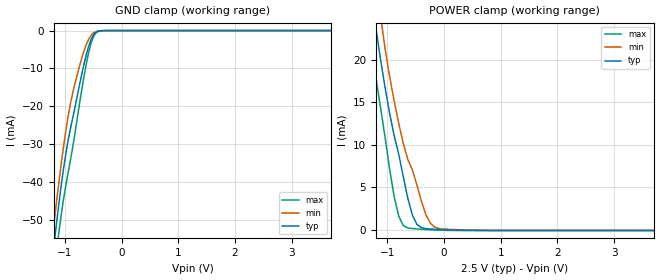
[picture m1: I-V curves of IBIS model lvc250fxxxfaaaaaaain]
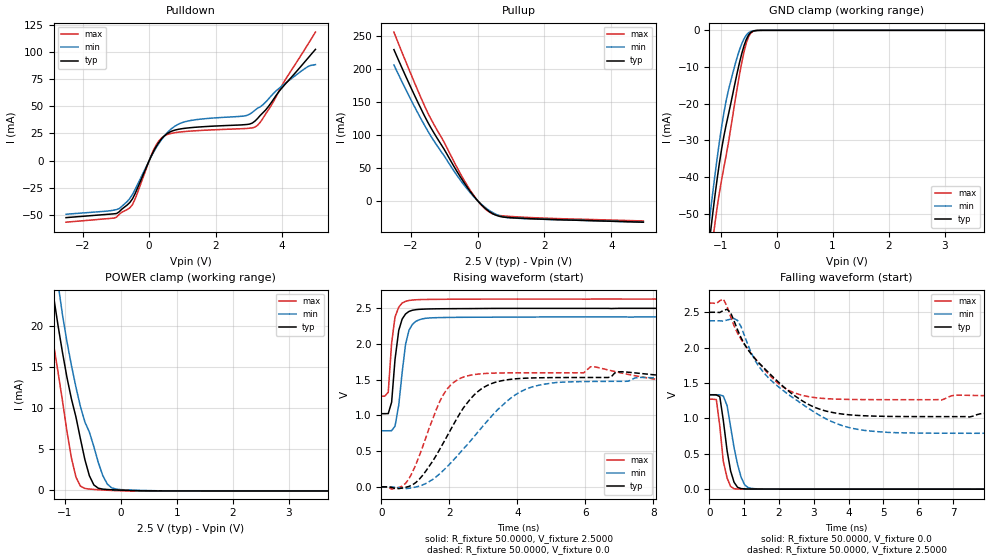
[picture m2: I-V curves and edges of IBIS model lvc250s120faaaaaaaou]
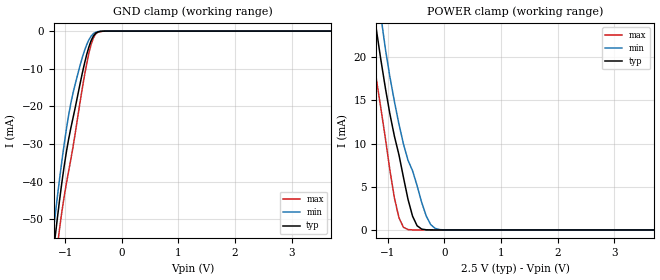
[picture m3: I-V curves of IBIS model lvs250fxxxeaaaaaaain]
| IBIS Models Generator: Lattice Diamond (64-bit) 3.6.0.83.4
| Generate date: Fri Mar 04 09:54:55 2016
| IBIS File ecp3.ibs
| LibisGen v2.0.1.0, 02/25/2008, Lattice Semiconductor Corporation
| Modified by LibisMaker v2.0.1.0, 02/25/2008, Lattice Semiconductor
| Rev 2.1   adds ftBGA256 package model   6/7/10
| North Carolina State University, ERL, 2006
[IBIS ver]   3.2
[File Name]   TrigTest1_TrigTest1.ibs
[File Rev]   2.3
[Date]   Mon Jun 18 11:32:00 EDT 2012
[Source]   Lattice Semiconductor CS200A Process
   LFE3-150EA   FINAL
   Lattice Semiconductor has worked hard to ensure the
   models below are accurate and complete.  However, the
   data below was generated using simulation of the
   input/output model files for the silicon.  Therefore,
   the data below is for reference and initial design
   purposes only.
   Lattice Semiconductor grants permission to use this
   data for use in printed circuit design using this
   Lattice programmable logic device.  Other use of this
   code, including the selling or duplication of any
   portion is strictly prohibited.
|   NAMING CONVENTION
   The IBIS [Model] header is limited by the specification to a
   total of characters.  With such a set of characters available
   for naming models it becomes important to attempt to
   meaningfully encode the IO standards so they fit within the
   twenty character limit.  It would seem that twenty characters
   would provide room enough for describing IO's.  However, the
   PLD IO structure continues to grow more and more complex.  The
   complexity is making the twenty characters insuffiently
   descriptive.  In order to overcome this issue the naming
   convention described below is implemented to resolve the issue.
The twenty character space is managed as follows:
   bbbvvvsdddprugtmoixx
   b = standard
   v = voltage (x.xx V)
   s = slew code
   d = drive (xx.x ma)
   p = pullup code
   r = series resistance code
   u = terminate to vcc code
   g = terminate to gnd code
   t = terminate to vtt code
   m = multdrive
   o = diff resistor code
   i = diffdrive
   x = reserved
   standard
   LVCMOS   lvc
   lvcmosd   lvd
   LVDSE   lve
   LVTTL   lvt
   lvttld   ltd
   PCI   pci
   sstl   ss1
   sstl_I   ss1
   sstl_II   ss2
   sstld   s1d
   sstld_I   s1d
   sstld_II   s2d
   CTT   ctt
   hstl_i   hs1
   hstl_ii   hs2
   hstld_i   h1d
   hstld_ii   h2d
   lvds   lvs
   blvds   blv
   mlvds   mlv
   lvpecl   lvp
   hypt   hyp
   rsds   rsd
   rsdse   rse
   pplvds   psd
   minilvds   mnl
   vref1   vr1
   vref2   vr2
   ref_res   rer
   slew
   na   a
   fast   f
   slow   s
   pullmode
   off   a
   pullup   b
   pulldown   c
   bushold   d
   pciclamp   e
   up_pciclamp   f
   down_pciclamp   g
   keeper_pciclamp   h
   impedance
   off   a
   25   b
   33   c
   50   d
   100   e
   termVCC
   off   a
   50   b
   75   c
   120   d
   termGND
   off   a
   50   b
   75   c
   120   d
   termVTT
   off   a
   40   b
   50   c
   60   d
   multi drive
   NA   a
   2x   b
   3x   c
   4x   d
   differential resistor
   off   a
   80   b
   100   c
   120   d
   diff drive
   NA   a
   2.0   b
   1.93   c
   1.87   d
   1.81   e
   1.75   f
   1.7   g
   1.65   h
   1.6   i
   Reserved   IO type
   in   input only
   ou   output
   io   I/O
   od   Open drain
   on   Inverting differential I/O
   (signal name only)
   op   Non-Inverting differential I/O
   (signal name only)
   All the IO models are generated with pull mode set to UP.
   Lattice Semiconductor Corporation
   5555 NE Moore Court
   Hillsboro, OR 97214
   U.S.A
   TEL: 1-800-Lattice (USA and Canada)
   408-826-6000 (other locations)
   web: http://www.latticesemi.com/
   email: techsupport@latticesemi.com
[Disclaimer] This IBIS source code is intended as a design reference
   which illustrates how the Lattice Semiconductor device operates.
   It is the user's responsibility to verify their design for
   consistency and functionality through the use of formal
   verification methods.  Lattice Semiconductor provides no warranty
   regarding the use or functionality of this data.
[Copyright]   Copyright 2007 by Lattice Semiconductor Corporation
|   Component ECP3
[Component]   ECP3
[Manufacturer]   Lattice Semiconductor Corp.
[Package]
|FPBGA672
| variable   typ   min   max
R_pkg   247.00m   124.00m   273.00m
L_pkg   7.31nH   3.83nH   9.10nH
C_pkg   1.70pF   1.12pF   2.32pF
[Pin] signal_name   model_name   R_pin   L_pin   C_pin
P1   INP[0]+   lvs250fxxxeaaaaaaain
P2   INP[0]-   lvs250fxxxeaaaaaaain
AD1   INP[16]+   lvs250fxxxeaaaaaaain
AD2   INP[16]-   lvs250fxxxeaaaaaaain
AB5   INP[17]+   lvs250fxxxeaaaaaaain
AB6   INP[17]-   lvs250fxxxeaaaaaaain
AB3   INP[18]+   lvs250fxxxeaaaaaaain
AB4   INP[18]-   lvs250fxxxeaaaaaaain
Y6   INP[19]+   lvs250fxxxeaaaaaaain
Y7   INP[19]-   lvs250fxxxeaaaaaaain
T2   INP[1]+   lvs250fxxxeaaaaaaain
U3   INP[1]-   lvs250fxxxeaaaaaaain
R1   INP[2]+   lvs250fxxxeaaaaaaain
R2   INP[2]-   lvs250fxxxeaaaaaaain
J23   INP[32]+   lvs250fxxxeaaaaaaain
H23   INP[32]-   lvs250fxxxeaaaaaaain
G26   INP[33]+   lvs250fxxxeaaaaaaain
F26   INP[33]-   lvs250fxxxeaaaaaaain
F24   INP[34]+   lvs250fxxxeaaaaaaain
G24   INP[34]-   lvs250fxxxeaaaaaaain
H26   INP[35]+   lvs250fxxxeaaaaaaain
H25   INP[35]-   lvs250fxxxeaaaaaaain
K23   INP[36]+   lvs250fxxxeaaaaaaain
K22   INP[36]-   lvs250fxxxeaaaaaaain
H24   INP[48]+   lvs250fxxxeaaaaaaain
G25   INP[48]-   lvs250fxxxeaaaaaaain
L20   INP[49]+   lvs250fxxxeaaaaaaain
M21   INP[49]-   lvs250fxxxeaaaaaaain
K24   INP[50]+   lvs250fxxxeaaaaaaain
J24   INP[50]-   lvs250fxxxeaaaaaaain
M23   INP[51]+   lvs250fxxxeaaaaaaain
M24   INP[51]-   lvs250fxxxeaaaaaaain
L24   INP[52]+   lvs250fxxxeaaaaaaain
K25   INP[52]-   lvs250fxxxeaaaaaaain
M22   INP[53]+   lvs250fxxxeaaaaaaain
N21   INP[53]-   lvs250fxxxeaaaaaaain
N3   InpA   lvc250fxxxfaaaaaaain
W8   InpB   lvc250fxxxfaaaaaaain
K19   InpC   lvc250fxxxfaaaaaaain
P23   InpD   lvc250fxxxfaaaaaaain
P3   OutpA[0]   lvc250s120faaaaaaaou
N6   OutpA[1]   lvc250s120faaaaaaaou
N5   OutpA[2]   lvc250s120faaaaaaaou
AB7   OutpB[0]   lvc250s120faaaaaaaou
AE3   OutpB[1]   lvc250s120faaaaaaaou
AD4   OutpB[2]   lvc250s120faaaaaaaou
N22   OutpC[0]   lvc250s120faaaaaaaou
L19   OutpC[1]   lvc250s120faaaaaaaou
K26   OutpC[2]   lvc250s120faaaaaaaou
N23   OutpD[0]   lvc250s120faaaaaaaou
R22   OutpD[1]   lvc250s120faaaaaaaou
J26   OutpD[2]   lvc250s120faaaaaaaou
| Models and submodels in the file (3): lvc250fxxxfaaaaaaain (Input), lvc250s120faaaaaaaou (Output), lvs250fxxxeaaaaaaain (Input)
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[Model]   lvc250fxxxfaaaaaaain
Model_type   Input
Polarity   Non-Inverting
Enable   Active-Low
Vinl =   0.700000V
Vinh =   1.700000V
C_comp   2.7pF   2.2pF   3.2pF
[Temperature Range]   25.000000   0.105000k   -40.000000
[Voltage Range]   2.500000V   2.380000V   2.630000V
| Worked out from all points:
|   GND clamp passes 1 mA (typ) near -0.48 V on its own axis
|   POWER clamp passes 1 mA (typ) near -0.51 V on its own axis
[GND_clamp]
|Voltage   I(typ)   I(min)   I(max)
-2.5V     -568.6mA   -547mA     -588.4mA
-1.22V    -60.5mA    -54.69mA   -68.17mA
-1.18V    -55.16mA   -49.44mA   -62.72mA
-1.14V    -50.01mA   -44.35mA   -57.52mA
-1.1V     -45.08mA   -39.45mA   -52.65mA
-980mV    -32.27mA   -26.21mA   -40.63mA
-860mV    -22.99mA   -16.38mA   -30.68mA
-700mV    -11.37mA   -7.163mA   -15.45mA
-620mV    -6.261mA   -3.619mA   -8.681mA
-540mV    -2.469mA   -1.301mA   -3.454mA
-460mV    -558.2uA   -296.3uA   -734.8uA
5V        0A         0A         0A
[POWER_clamp]
|Voltage   I(typ)   I(min)   I(max)
-2.48V    125.5mA    103mA      134.9mA
-1.36V    32.65mA    38.54mA    25.71mA
-1.28V    27.59mA    33.87mA    21.59mA
-1.2V     23.57mA    29.37mA    17.78mA
-1.12V    20.02mA    25.12mA    14.36mA
-880mV    11.07mA    15.15mA    3.899mA
-800mV    8.895mA    12.52mA    1.6mA
-640mV    3.709mA    8.279mA    211.3uA
-480mV    635.9uA    5.291mA    91.04uA
-320mV    126.3uA    1.762mA    22.31uA
-80mV     23.9uA     123.7uA    -54.1uA
5V        -91.84uA   -90.14uA   -95.24uA
[Model]   lvc250s120faaaaaaaou
Model_type   Output
Polarity   Non-Inverting
Enable   Active-Low
Vmeas =   1.250000V
Cref =   0.0F
Rref =   1.000000M
Vref =   0.0V
C_comp   2.7pF   2.2pF   3.2pF
[Temperature Range]   25.000000   0.105000k   -40.000000
[Voltage Range]   2.500000V   2.380000V   2.630000V
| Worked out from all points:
|   slope of the pulldown table from 0 to 0.375 V, typ, clamps not added: 18.6 ohm
|   slope of the pullup table from 0 to 0.375 V, typ, clamps not added: 21.5 ohm
|   GND clamp passes 1 mA (typ) near -0.48 V on its own axis
|   POWER clamp passes 1 mA (typ) near -0.51 V on its own axis
|   rising waveform, R_fixture 50.0000, V_fixture 2.5000: 20-80 % time 196ps typ, 249ps min, 163ps max; typ from 1.03 V to 2.5 V
|   rising waveform, R_fixture 50.0000, V_fixture 0.0: 20-80 % time 985ps typ, 1.49ns min, 603ps max; typ from 0.001 V to 1.33 V
|   falling waveform, R_fixture 50.0000, V_fixture 0.0: 20-80 % time 235ps typ, 309ps min, 198ps max; typ from 1.33 V to 0.001 V
|   falling waveform, R_fixture 50.0000, V_fixture 2.5000: 20-80 % time 1.59ns typ, 1.84ns min, 1.2ns max; typ from 2.5 V to 1.03 V
[Pulldown]
|Voltage   I(typ)   I(min)   I(max)
-2.5V     -52.25mA   -49.14mA   -56.44mA
-980mV    -48.47mA   -44.85mA   -51.82mA
-580mV    -38.34mA   -34.65mA   -43.22mA
-420mV    -30.08mA   -26.26mA   -34.95mA
140mV     9.092mA    8.181mA    10.36mA
460mV     22.87mA    22.83mA    22.82mA
1.02V     29.55mA    35.26mA    26.65mA
2.86V     33.09mA    41.07mA    29.5mA
3.26V     38.78mA    48.23mA    32.51mA
3.66V     52.85mA    59.2mA     50.22mA
4.46V     83mA       79.65mA    91.71mA
5V        102.2mA    88.22mA    118.1mA
[Pullup]
|Voltage   I(typ)   I(min)   I(max)
-2.5V     230mA      206.6mA    256.7mA
-1.8V     151.4mA    134.9mA    169.5mA
-1.4V     111.4mA    98.62mA    125mA
-1V       78.32mA    68.24mA    89.05mA
-680mV    49.93mA    43.25mA    56.92mA
-280mV    18.24mA    15.83mA    20.67mA
40mV      -2.291mA   -1.999mA   -2.555mA
280mV     -13.94mA   -12.46mA   -14.91mA
440mV     -19.54mA   -17.9mA    -19.98mA
600mV     -23.23mA   -22.01mA   -22.36mA
920mV     -25.8mA    -26.11mA   -23.97mA
4.96V     -32.94mA   -32.96mA   -31.06mA
[GND_clamp]
|Voltage   I(typ)   I(min)   I(max)
-2.5V     -568.6mA   -547mA     -588.4mA
-1.22V    -60.5mA    -54.69mA   -68.17mA
-1.18V    -55.16mA   -49.44mA   -62.72mA
-1.14V    -50.01mA   -44.35mA   -57.52mA
-1.1V     -45.08mA   -39.45mA   -52.65mA
-980mV    -32.27mA   -26.21mA   -40.63mA
-860mV    -22.99mA   -16.38mA   -30.68mA
-700mV    -11.37mA   -7.163mA   -15.45mA
-620mV    -6.261mA   -3.619mA   -8.681mA
-540mV    -2.469mA   -1.301mA   -3.454mA
-460mV    -558.2uA   -296.3uA   -734.8uA
5V        0A         0A         0A
[POWER_clamp]
|Voltage   I(typ)   I(min)   I(max)
-2.48V    125.5mA    103mA      134.9mA
-1.36V    32.65mA    38.54mA    25.71mA
-1.28V    27.59mA    33.87mA    21.59mA
-1.2V     23.57mA    29.37mA    17.78mA
-1.12V    20.02mA    25.12mA    14.36mA
-880mV    11.07mA    15.15mA    3.899mA
-800mV    8.895mA    12.52mA    1.6mA
-640mV    3.709mA    8.279mA    211.3uA
-480mV    635.9uA    5.291mA    91.04uA
-320mV    126.3uA    1.762mA    22.31uA
-80mV     23.9uA     123.7uA    -54.1uA
5V        -91.84uA   -90.14uA   -95.24uA
[Ramp]
| variable   typ   min   max
dV/dt_r  0.8965/1.1222n   0.8941/1.6943n   0.8407/0.6559n
dV/dt_f  0.8645/1.5198n   0.9484/1.8217n   0.7943/1.1348n
R_load = 50.0000
[Rising Waveform]
R_fixture=   50.0000
V_fixture=   2.5000
V_fixture_min=   2.3800
V_fixture_max=   2.6300
|time   V(typ)   V(min)   V(max)
0s        1.026V     786.4mV    1.271V
200ps     1.026V     786.4mV    1.326V
300ps     1.186V     787.2mV    2.015V
400ps     1.786V     850.9mV    2.38V
510ps     2.192V     1.148V     2.517V
710ps     2.422V     1.997V     2.599V
810ps     2.457V     2.192V     2.611V
1.01ns    2.482V     2.317V     2.62V
1.21ns    2.489V     2.354V     2.624V
20ns      2.5V       2.38V      2.63V
[Rising Waveform]
R_fixture=   50.0000
V_fixture=   0.0
V_fixture_min=   0.0
V_fixture_max=   0.0
|time   V(typ)   V(min)   V(max)
0s        861.1uV    961.5uV    755uV
610ps     -14.94mV   -19.29mV   10.57mV
1.11ns    105.1mV    10.71mV    429.1mV
1.92ns    699.5mV    276.2mV    1.362V
2.73ns    1.288V     705.1mV    1.573V
3.94ns    1.513V     1.288V     1.597V
5.15ns    1.531V     1.462V     1.598V
6.26ns    1.532V     1.477V     1.682V
9.9ns     1.498V     1.493V     1.406V
20ns      1.33V      1.33V      1.27V
[Falling Waveform]
R_fixture=   50.0000
V_fixture=   0.0
V_fixture_min=   0.0
V_fixture_max=   0.0
|time   V(typ)   V(min)   V(max)
0s        1.334V     1.335V     1.272V
200ps     1.332V     1.335V     1.267V
300ps     1.308V     1.333V     891.1mV
400ps     974.3mV    1.317V     394.6mV
510ps     542.5mV    1.179V     157.5mV
710ps     97.68mV    585.3mV    6.001mV
910ps     8.506mV    171.7mV    2.152mV
1.11ns    2.963mV    23mV       1.679mV
1.52ns    1.783mV    3.586mV    1.357mV
20ns      879.3uV    976.5uV    764.3uV
[Falling Waveform]
R_fixture=   50.0000
V_fixture=   2.5000
V_fixture_min=   2.3800
V_fixture_max=   2.6300
|time   V(typ)   V(min)   V(max)
0s        2.5V       2.38V      2.63V
400ps     2.525V     2.375V     2.687V
610ps     2.494V     2.403V     2.439V
810ps     2.251V     2.384V     2.205V
1.41ns    1.79V      1.743V     1.788V
2.12ns    1.452V     1.394V     1.444V
3.13ns    1.138V     1.054V     1.289V
4.34ns    1.04V      839mV      1.267V
7.17ns    1.025V     790.5mV    1.329V
20ns      1.03V      799.4mV    1.27V
[Model]   lvs250fxxxeaaaaaaain
Model_type   Input
Polarity   Non-Inverting
Enable   Active-Low
Vinl =   1.1500V
Vinh =   1.3500V
C_comp   2.7pF   2.2pF   3.2pF
[Temperature Range]   25.0000   0.1050k   -40.0000
[Voltage Range]   2.5000V   2.3800V   2.6300V
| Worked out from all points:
|   GND clamp passes 1 mA (typ) near -0.48 V on its own axis
|   POWER clamp passes 1 mA (typ) near -0.52 V on its own axis
[GND_clamp]
|Voltage   I(typ)   I(min)   I(max)
-2.5V     -568.6mA   -547.1mA   -588.5mA
-1.22V    -60.54mA   -54.72mA   -68.21mA
-1.18V    -55.2mA    -49.48mA   -62.76mA
-1.14V    -50.04mA   -44.39mA   -57.56mA
-1.1V     -45.12mA   -39.48mA   -52.69mA
-980mV    -32.3mA    -26.24mA   -40.67mA
-860mV    -23.02mA   -16.41mA   -30.71mA
-620mV    -6.287mA   -3.641mA   -8.712mA
-540mV    -2.491mA   -1.319mA   -3.479mA
-460mV    -573.6uA   -307.8uA   -753.4uA
-220mV    -1.025uA   -813nA     -2.371uA
5V        0A         0A         0A
[POWER_clamp]
|Voltage   I(typ)   I(min)   I(max)
-2.48V    124.9mA    102.5mA    134.5mA
-1.36V    32.3mA     38.16mA    25.39mA
-1.28V    27.24mA    33.51mA    21.29mA
-1.2V     23.23mA    29.02mA    17.5mA
-1.12V    19.71mA    24.79mA    14.1mA
-880mV    10.84mA    14.86mA    3.692mA
-800mV    8.686mA    12.25mA    1.4mA
-640mV    3.538mA    8.06mA     47.54uA
-480mV    487.9uA    5.126mA    984.8nA
-320mV    20.48uA    1.632mA    42.33nA
-80mV     92.79nA    41.37uA    28.94nA
5V        -36.28nA   -54.82nA   -198.9nA
